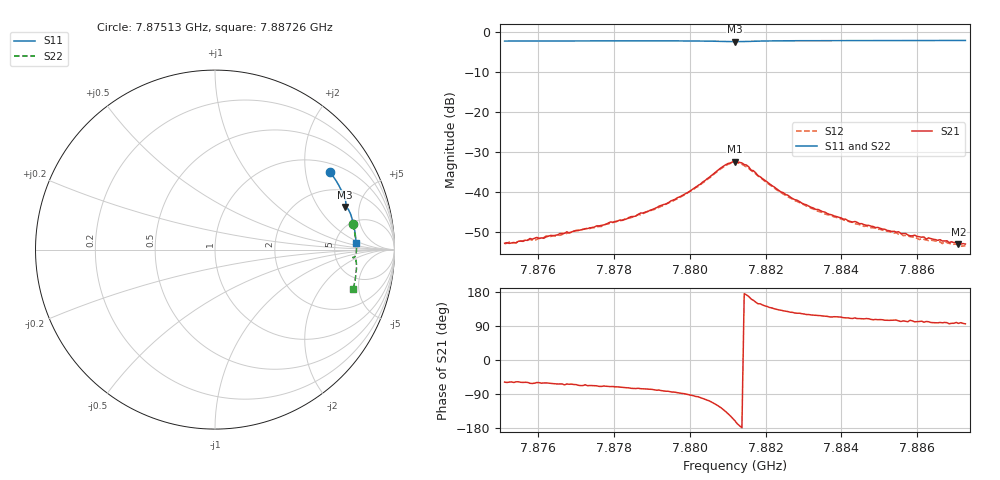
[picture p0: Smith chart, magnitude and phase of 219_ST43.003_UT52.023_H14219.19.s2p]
#  HZ  S  DB  R  50.00
! Rohde & Schwarz Vector Network Analyzer
! Rohde-Schwarz,ZNB20-2Port,1311601062101988,3.16
! Created: UTC 1/12/2023, 6:45:42 PM
! freq[Hz]  db:S11  ang:S11  db:S21  ang:S21  db:S12  ang:S12  db:S22  ang:S22
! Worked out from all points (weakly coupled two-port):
!   201 points, 7.87513 GHz to 7.88726 GHz, reference 50 ohm
!   highest |S21| = -32.34 dB at 7.8812 GHz (marker M1); lowest = -53.0 dB at 7.88708 GHz (marker M2)
!   lowest |S11| = -2.4 dB at 7.8812 GHz (marker M3), VSWR 7.32, Z = 158 + j177 ohm
!   |S11| at or under -10 dB: nowhere
!   |S22| runs from -2.3 to -1.9 dB; largest |S21 - S12| = 0.002
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7.875131e9  -2.23 34.2  -52.72 -58.4  -52.85 -60.4  -2.17 10.3
7.875435e9  -2.22 33.3  -52.63 -57.6  -52.62 -63.3  -2.15 9.6
7.875495e9  -2.23 33.1  -52.23 -57.5  -52.05 -61.5  -2.15 9.4
7.87592e9  -2.22 32.0  -51.49 -61.1  -52.02 -61.7  -2.14 8.4
7.876223e9  -2.21 31.2  -51.14 -60.4  -50.92 -64.2  -2.13 7.7
7.876587e9  -2.21 30.2  -50.29 -63.1  -50.75 -66.6  -2.11 6.9
7.877194e9  -2.19 28.5  -49.23 -67.4  -49.26 -69.5  -2.10 5.4
7.878225e9  -2.18 25.7  -47.00 -72.4  -47.02 -75.2  -2.08 3.1
7.879195e9  -2.18 23.0  -43.47 -79.3  -43.76 -83.3  -2.06 0.8
7.879984e9  -2.19 20.7  -39.87 -91.7  -39.92 -94.9  -2.07 -1.2
7.880893e9  -2.33 18.2  -33.46 -131.3  -33.69 -134.7  -2.21 -3.3
7.881197e9  -2.39 18.2  -32.34 -160.6  -32.57 -163.4  -2.28 -3.3
7.8815e9  -2.33 18.1  -33.19 171.6  -33.68 167.4  -2.22 -3.2
7.88241e9  -2.17 15.6  -39.93 131.4  -40.09 127.9  -2.04 -5.1
7.883259e9  -2.13 13.2  -43.90 118.4  -44.15 115.3  -2.00 -7.2
7.884229e9  -2.11 10.6  -47.28 110.1  -47.41 107.2  -1.97 -9.4
7.88526e9  -2.10 7.9  -49.61 104.7  -49.83 103.1  -1.96 -11.8
7.886049e9  -2.09 5.8  -51.09 101.7  -51.80 98.0  -1.95 -13.5
7.886656e9  -2.09 4.2  -52.15 98.2  -52.81 96.0  -1.94 -14.7
7.886716e9  -2.08 4.0  -52.14 99.1  -52.27 94.7  -1.94 -14.9
7.88708e9  -2.08 3.1  -52.97 96.5  -53.25 94.6  -1.94 -15.7
7.887262e9  -2.08 2.6  -52.92 95.4  -53.34 94.3  -1.94 -16.1
